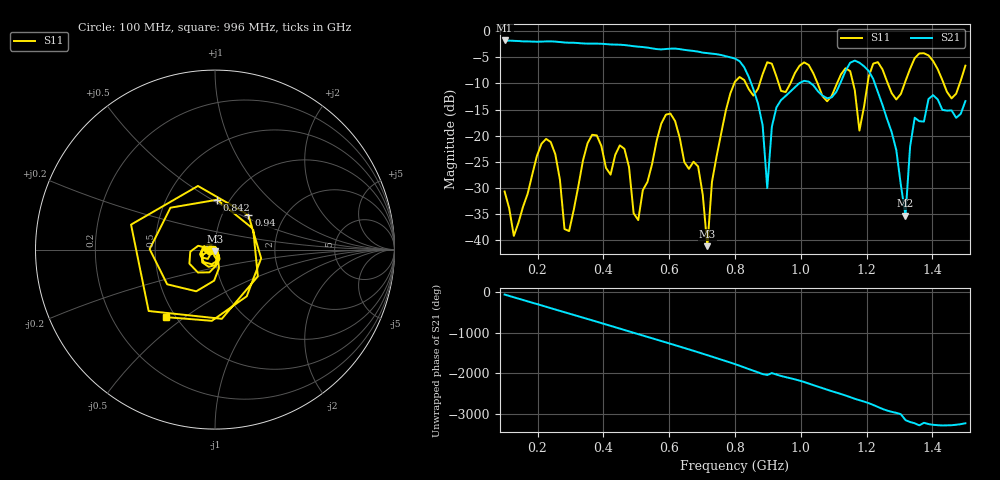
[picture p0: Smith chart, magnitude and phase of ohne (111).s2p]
! NanoVNA-App
! Date: 2025-09-25 14:21:40
! Start: 100MHz Stop: 1,5GHz Points: 101
! S-Parameter data: F S11 S21 S12 S22
# Hz S RI R 50
!  Frequency  S11_Real  S11_Imag  S21_Real  S21_Imag  S12_Real  S12_Imag  S22_Real  S22_Imag
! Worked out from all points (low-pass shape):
!   101 points, 100 MHz to 1.5 GHz, reference 50 ohm
!   highest |S21| = -1.79 dB at 100 MHz (marker M1); lowest = -35.3 dB at 1.318 GHz (marker M2)
!   |S21| within 3 dB of the highest: start of sweep to 771.4 MHz
!   lowest |S11| = -41.1 dB at 716 MHz (marker M3), VSWR 1.02, Z = 49.8 - j0.865 ohm
!   |S11| at or under -10 dB: start of sweep to 797.8 MHz; 833.2 MHz to 875.1 MHz (41.95 MHz wide, 4.91 % of centre); 1.051 GHz to 1.11 GHz (58.95 MHz wide, 5.46 % of centre) (the widest 3 of 7)
!   S12 and S22 are empty: the file has one direction only
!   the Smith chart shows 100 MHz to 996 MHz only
!   S11 on the Smith chart (normalised r, x): 100 MHz: 0.94, -0.01; 842 MHz: 0.88, +0.53; 940 MHz: 1.33, +0.55; 996 MHz: 0.44, -0.43
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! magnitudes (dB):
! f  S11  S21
! 100 MHz  -30.6  -1.8
! 128 MHz  -39.1  -1.9
! 226 MHz  -20.6  -2.0
! 296 MHz  -38.2  -2.2
! 338 MHz  -24.7  -2.4
! 464 MHz  -22.5  -2.7
! 506 MHz  -36.1  -3.0
! 576 MHz  -17.7  -3.5
! 688 MHz  -25.9  -3.9
! 716 MHz  -41.1  -4.2
! 800 MHz  -9.7  -5.2
! 842 MHz  -11.1  -8.8
! 898 MHz  -6.0  -30.0
! 940 MHz  -11.4  -13.2
! 996 MHz  -6.6  -9.9
! 1.038 GHz  -8.1  -10.4
! 1.178 GHz  -19.0  -6.0
! 1.22 GHz  -6.2  -9.2
! 1.276 GHz  -11.8  -19.3
! 1.318 GHz  -9.5  -35.3
! 1.346 GHz  -5.2  -16.6
! 1.5 GHz  -6.6  -13.4
